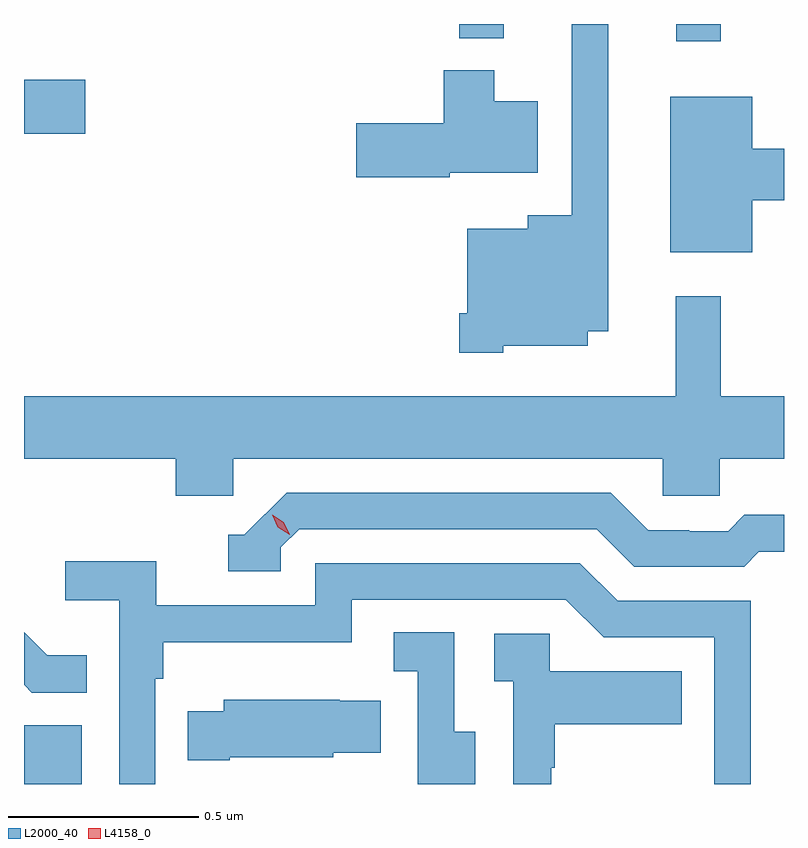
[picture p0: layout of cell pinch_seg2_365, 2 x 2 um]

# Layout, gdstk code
import gdstk
lib = gdstk.Library(unit=1e-6, precision=1e-09)
def R(c, l, rs):  # rectangles x0, y0, x1, y1
    for r in rs: c.add(gdstk.rectangle(r[:2], r[2:], *l))
def P(c, l, *ps):  # polygons
    for p in ps: c.add(gdstk.Polygon(p, *l))
L2000_40 = (2000, 40)
L4158_0 = (4158, 0)

pinch_seg2_365 = lib.new_cell('pinch_seg2_365')
R(pinch_seg2_365, L2000_40, [(981.2,633.46,981.352,633.615), (981.2,635.171,981.361,635.313), (982.916,635.415,983.033,635.46), (982.345,635.423,982.463,635.46)])
P(pinch_seg2_365, L2000_40, [(982.461,634.613),(982.684,634.613),(982.684,634.652),(982.738,634.652),(982.738,635.46),(982.641,635.46),(982.641,634.957),(982.526,634.957),(982.526,634.921),(982.367,634.921),(982.367,634.699),(982.346,634.699),(982.346,634.595),(982.461,634.595)],
  [(982.32,635.069),(982.552,635.069),(982.552,635.257),(982.438,635.257),(982.438,635.338),(982.304,635.338),(982.304,635.199),(982.074,635.199),(982.074,635.057),(982.32,635.057)],
  [(983.116,634.996),(983.2,634.996),(983.2,635.132),(983.116,635.132),(983.116,635.269),(982.901,635.269),(982.901,634.859),(983.116,634.859)],
  [(981.75,634.316),(982.881,634.316),(982.881,634.218),(983.031,634.218),(983.031,634.316),(983.2,634.316),(983.2,634.48),(983.033,634.48),(983.033,634.744),(982.915,634.744),(982.915,634.48),(981.2,634.48),(981.2,634.316),(981.599,634.316),(981.599,634.218),(981.75,634.218)],
  [(981.876,634.083),(981.924,634.131),(982.707,634.131),(982.806,634.032),(983.095,634.032),(983.134,634.071),(983.2,634.071),(983.2,634.168),(983.095,634.168),(983.053,634.125),(982.95,634.125),(982.95,634.128),(982.843,634.128),(982.744,634.227),(981.891,634.227),(981.78,634.116),(981.737,634.116),(981.737,634.02),(981.876,634.02)],
  [(981.546,633.737),(981.566,633.737),(981.566,633.833),(982.062,633.833),(982.062,633.945),(982.626,633.945),(982.725,633.846),(983.016,633.846),(983.016,633.46),(983.112,633.46),(983.112,633.942),(982.762,633.942),(982.663,634.041),(981.966,634.041),(981.966,633.93),(981.548,633.93),(981.548,634.046),(981.309,634.046),(981.309,633.944),(981.45,633.944),(981.45,633.46),(981.546,633.46)],
  [(981.365,633.799),(981.261,633.799),(981.2,633.86),(981.2,633.721),(981.221,633.7),(981.365,633.7)],
  [(982.387,633.597),(982.332,633.597),(982.332,633.86),(982.173,633.86),(982.173,633.757),(982.236,633.757),(982.236,633.46),(982.387,633.46)],
  [(982.587,633.503),(982.597,633.503),(982.597,633.617),(982.931,633.617),(982.931,633.757),(982.584,633.757),(982.584,633.855),(982.437,633.855),(982.437,633.731),(982.488,633.731),(982.488,633.46),(982.587,633.46)],
  [(981.742,633.53),(982.014,633.53),(982.014,633.542),(982.139,633.542),(982.139,633.679),(982.031,633.679),(982.031,633.682),(981.725,633.682),(981.725,633.652),(981.631,633.652),(981.631,633.523),(981.742,633.523)])
P(pinch_seg2_365, L4158_0, [(981.899,634.116),(981.868,634.136),(981.853,634.169),(981.853,634.169),(981.853,634.169),(981.883,634.149),(981.899,634.116),(981.899,634.116)])

lib.write_gds('pinch_seg2_365.gds')
